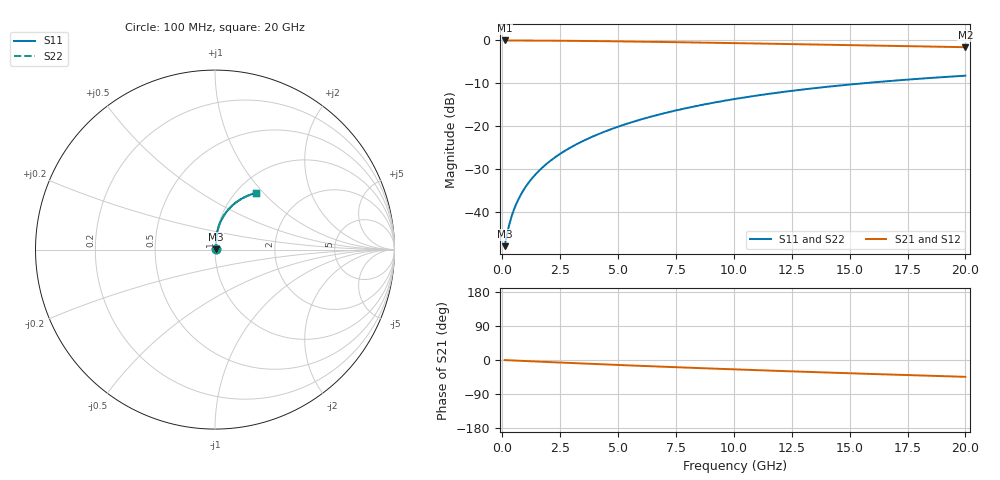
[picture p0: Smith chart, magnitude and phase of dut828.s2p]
! Touchstone file exported from HFSS 2024.1.0
!  File:  C:/UserFiles/LocalFiles/RDL_TSV_Batchsim/temp_RDL_top_828_1779854825.aedt
!  Generated:  12:09:22 PM May 27, 2026
!  Design:  RDL_top
!  Project:  temp_RDL_top_828_1779854825
!  Setup:  Setup1
!  Solution:  Sweep
! Variables:
!  dtsv = 10.80580581um
!  hbump = 3um
!  htsv = 99.03um
!  ldown = 100um
!  lrdl = 613.71um
!  p = 40
!  p1 = 53.86um
!  rhole = 1um
!  t = 450um
!  tdown = 3.915915916um
!  trdl = 2.84um
!  wdown = 15.38538539um
!  wrdl = 23.73um
# GHz S MA R 50.000000
! Terminal data exported
! Port[1] = Box2_T1
! Port[2] = Box2_T2
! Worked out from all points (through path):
!   200 points, 100 MHz to 20 GHz, reference 50 ohm
!   highest |S21| = -0.03 dB at 100 MHz (marker M1); lowest = -1.6 dB at 20 GHz (marker M2)
!   group delay of S21, straight-line fit = 6.12 ps
!   lowest |S11| = -47.8 dB at 100 MHz (marker M3), VSWR 1.01, Z = 50.3 + j0.213 ohm
!   |S11| at or under -10 dB: start of sweep to 15.54 GHz
!   |S22| runs from -47.8 to -8.2 dB; largest |S21 - S12| = 2e-15
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0.1  0.004063 31.4  0.9965 -0.3  0.9965 -0.3  0.004063 31.4
! Gamma 0 0 0 0
! Port Impedance 50 0 50 0
0.2  0.005517 49.1  0.9964 -0.6  0.9964 -0.6  0.005517 49.1
0.3  0.007221 58.4  0.9961 -0.8  0.9961 -0.8  0.007221 58.4
0.4  0.008981 63.9  0.9959 -1.1  0.9959 -1.1  0.008981 63.9
0.5  0.01075 67.6  0.9957 -1.4  0.9957 -1.4  0.01075 67.6
0.6  0.01252 70.3  0.9955 -1.7  0.9955 -1.7  0.01252 70.3
0.8  0.01609 74.1  0.995 -2.2  0.995 -2.2  0.0161 74.1
1.1  0.02153 77.6  0.9943 -3.0  0.9943 -3.0  0.02153 77.6
1.3  0.02522 79.1  0.9938 -3.5  0.9938 -3.5  0.02522 79.1
1.6  0.03081 80.8  0.9929 -4.3  0.9929 -4.3  0.03081 80.7
2.1  0.04031 82.4  0.991 -5.7  0.991 -5.7  0.04031 82.3
2.7  0.05199 83.3  0.9883 -7.2  0.9883 -7.2  0.05198 83.3
3.5  0.06799 83.7  0.9838 -9.3  0.9838 -9.3  0.06798 83.6
4.2  0.08239 83.4  0.9791 -11.1  0.9791 -11.1  0.08236 83.4
5  0.09922 82.8  0.9732 -13.1  0.9732 -13.1  0.09917 82.8
6.8  0.1381 80.4  0.9582 -17.4  0.9582 -17.4  0.138 80.3
8.4  0.173 77.5  0.9436 -21.1  0.9436 -21.1  0.1728 77.4
10.1  0.2095 74.1  0.9275 -24.9  0.9275 -24.9  0.2093 74.0
11.7  0.2428 70.8  0.912 -28.3  0.912 -28.3  0.2425 70.7
13.4  0.2765 67.2  0.8954 -31.8  0.8954 -31.8  0.2762 67.2
16.7  0.3364 60.5  0.8634 -38.3  0.8634 -38.3  0.336 60.4
20  0.3883 54.2  0.8322 -44.4  0.8322 -44.4  0.3878 54.1
